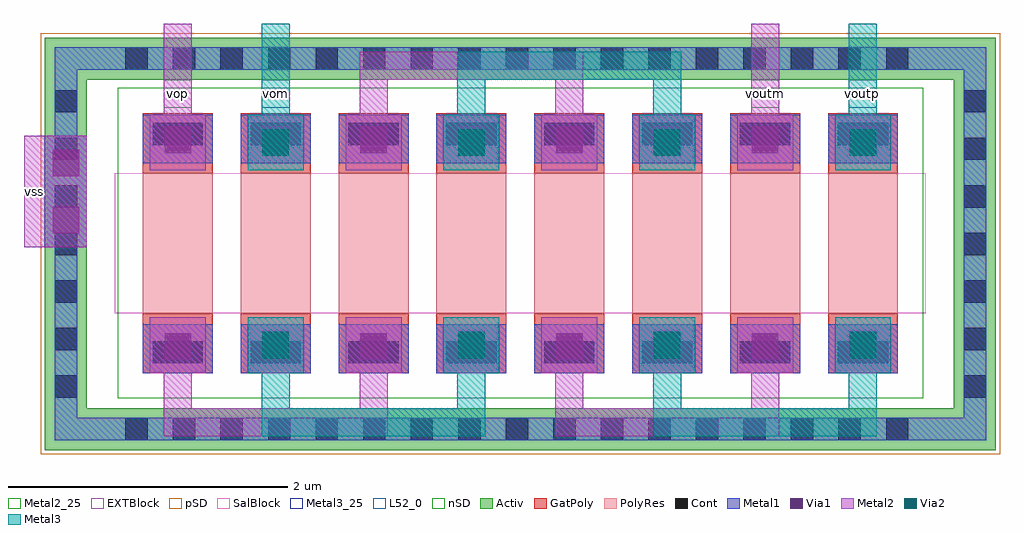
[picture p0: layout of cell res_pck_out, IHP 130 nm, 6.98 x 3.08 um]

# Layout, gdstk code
import gdstk
lib = gdstk.Library(unit=1e-6, precision=1e-09)
def R(c, l, rs):  # rectangles x0, y0, x1, y1
    for r in rs: c.add(gdstk.rectangle(r[:2], r[2:], *l))
def A(c, l, x, y, w, h, nx, ny, dx, dy):  # array of equal rectangles
    R(c, l, [(x+i*dx, y+j*dy, x+i*dx+w, y+j*dy+h) for i in range(nx) for j in range(ny)])
Activ = (1, 0)
GatPoly = (5, 0)
Cont = (6, 0)
nSD = (7, 0)
Metal1 = (8, 0)
Metal2 = (10, 0)
Metal2_25 = (10, 25)
pSD = (14, 0)
Via1 = (19, 0)
SalBlock = (28, 0)
Via2 = (29, 0)
Metal3 = (30, 0)
Metal3_25 = (30, 25)
L52_0 = (52, 0)
EXTBlock = (111, 0)
PolyRes = (128, 0)

rhigh_lvhkjt = lib.new_cell('rhigh_LVHKJT')
R(rhigh_lvhkjt, GatPoly, [(-0.25,-0.93,0.25,-0.5), (-0.25,0.5,0.25,0.93)])
R(rhigh_lvhkjt, Cont, [(-0.18,-0.86,0.18,-0.7), (-0.18,0.7,0.18,0.86)])
R(rhigh_lvhkjt, nSD, [(-0.43,-1.11,0.43,1.11)])
R(rhigh_lvhkjt, Metal1, [(-0.23,-0.885,0.23,-0.595), (-0.23,0.595,0.23,0.885)])
R(rhigh_lvhkjt, Metal2, [(-0.18,-0.925,0.18,-0.555), (-0.18,0.555,0.18,0.925)])
R(rhigh_lvhkjt, pSD, [(-0.43,-1.11,0.43,1.11)])
R(rhigh_lvhkjt, Via1, [(-0.095,-0.835,0.095,-0.645), (-0.095,0.645,0.095,0.835)])
R(rhigh_lvhkjt, SalBlock, [(-0.45,-0.5,0.45,0.5)])
R(rhigh_lvhkjt, L52_0, [(-0.25,-0.5,0.25,0.5)])
R(rhigh_lvhkjt, EXTBlock, [(-0.43,-1.11,0.43,1.11)])
R(rhigh_lvhkjt, PolyRes, [(-0.25,-0.5,0.25,0.5)])
rhigh_lvhkjt.add(gdstk.Label('R1', (0,0.78), layer=8, texttype=25))
rhigh_lvhkjt.add(gdstk.Label('R2', (0,-0.78), layer=8, texttype=25))

res_pck_out = lib.new_cell('res_pck_out')
R(res_pck_out, Activ, [(-0.7,-0.55,6.1,-0.25), (-0.7,-0.25,-0.4,2.1), (5.8,-0.25,6.1,2.1), (-0.7,2.1,6.1,2.4)])
A(res_pck_out, Cont, -0.125, -0.48, 0.16, 0.16, 17, 2, 0.34, 2.65)
A(res_pck_out, Cont, -0.63, -0.175, 0.16, 0.16, 1, 7, 0, 0.34)
A(res_pck_out, Cont, 5.87, -0.175, 0.16, 0.16, 1, 7, 0, 0.34)
A(res_pck_out, Metal1, 0, 0, 0.5, 0.35, 8, 2, 0.7, 1.5)
R(res_pck_out, Metal1, [(-0.63,-0.48,6.03,-0.32), (-0.63,-0.32,-0.47,0.9), (5.87,-0.32,6.03,2.17), (-0.7,0.9,-0.4,1.7), (-0.63,1.7,-0.47,2.17), (-0.63,2.17,6.03,2.33)])
A(res_pck_out, Metal2, 0.15, -0.25, 0.2, 0.25, 4, 1, 1.4, 0)
A(res_pck_out, Metal2, 0.05, 0, 0.4, 0.4, 8, 2, 0.7, 1.45)
R(res_pck_out, Metal2, [(0.15,-0.45,1.75,-0.25), (2.95,-0.45,4.55,-0.25), (-0.85,0.9,-0.4,1.7), (0.15,1.85,0.35,2.5), (1.55,1.85,1.75,2.1), (2.95,1.85,3.15,2.1), (4.35,1.85,4.55,2.5), (1.55,2.1,3.15,2.3)])
R(res_pck_out, Metal2_25, [(-0.85,0.9,-0.7,1.7), (0.15,1.9,0.35,2.1), (4.35,1.9,4.55,2.1)])
R(res_pck_out, pSD, [(-0.73,-0.58,6.13,-0.18), (-0.73,-0.18,-0.18,2.04), (5.58,-0.18,6.13,2.04), (-0.73,2.04,6.13,2.43)])
R(res_pck_out, Via1, [(-0.645,1,-0.455,1.19), (-0.645,1.41,-0.455,1.6)])
A(res_pck_out, Via2, 0.855, 0.105, 0.19, 0.19, 4, 2, 1.4, 1.45)
A(res_pck_out, Metal3, 0.85, -0.25, 0.2, 0.25, 4, 1, 1.4, 0)
A(res_pck_out, Metal3, 0.75, 0, 0.4, 0.4, 4, 2, 1.4, 1.45)
R(res_pck_out, Metal3, [(0.85,-0.45,2.45,-0.25), (3.65,-0.45,5.25,-0.25), (0.85,1.85,1.05,2.5), (2.25,1.85,2.45,2.1), (3.65,1.85,3.85,2.1), (5.05,1.85,5.25,2.5), (2.25,2.1,3.85,2.3)])
R(res_pck_out, Metal3_25, [(0.85,1.9,1.05,2.1), (5.05,1.9,5.25,2.1)])
res_pck_out.add(gdstk.Reference(rhigh_lvhkjt, (0.25,0.93)))
res_pck_out.add(gdstk.Reference(rhigh_lvhkjt, (0.95,0.93)))
res_pck_out.add(gdstk.Reference(rhigh_lvhkjt, (1.65,0.93)))
res_pck_out.add(gdstk.Reference(rhigh_lvhkjt, (2.35,0.93)))
res_pck_out.add(gdstk.Reference(rhigh_lvhkjt, (3.05,0.93)))
res_pck_out.add(gdstk.Reference(rhigh_lvhkjt, (3.75,0.93)))
res_pck_out.add(gdstk.Reference(rhigh_lvhkjt, (4.45,0.93)))
res_pck_out.add(gdstk.Reference(rhigh_lvhkjt, (5.15,0.93)))
res_pck_out.add(gdstk.Label('vop', (0.25,2), layer=10, texttype=25))
res_pck_out.add(gdstk.Label('vom', (0.95,2), layer=30, texttype=25))
res_pck_out.add(gdstk.Label('vss', (-0.775,1.3), layer=10, texttype=25))
res_pck_out.add(gdstk.Label('voutm', (4.45,2), layer=10, texttype=25))
res_pck_out.add(gdstk.Label('voutp', (5.15,2), layer=30, texttype=25))

lib.write_gds('res_pck_out.gds')
